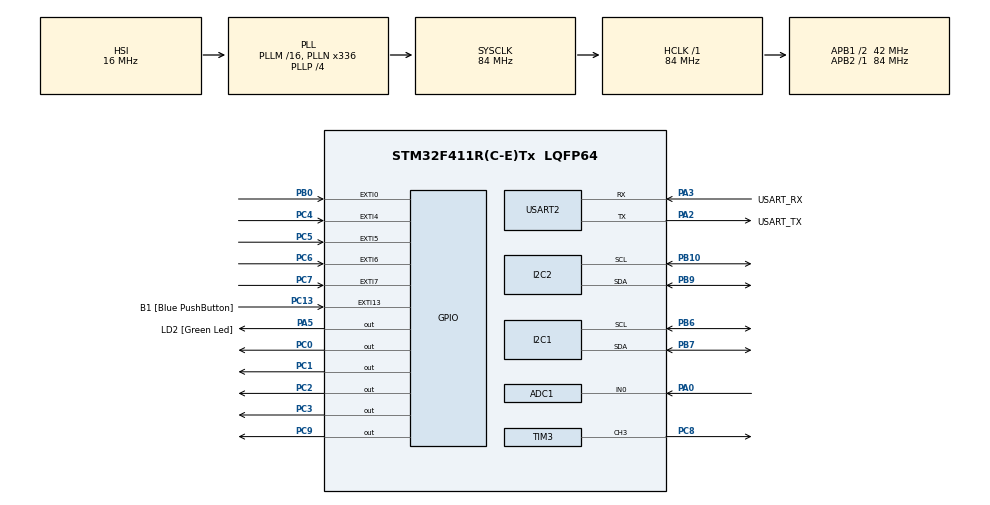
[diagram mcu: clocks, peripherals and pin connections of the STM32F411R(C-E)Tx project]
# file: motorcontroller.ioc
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ADC1.Channel-3\#ChannelRegularConversion=ADC_CHANNEL_0
ADC1.NbrOfConversionFlag=1
ADC1.Rank-3\#ChannelRegularConversion=1
ADC1.SamplingTime-3\#ChannelRegularConversion=ADC_SAMPLETIME_3CYCLES
ADC1.master=1
Mcu.Family=STM32F4
Mcu.Name=STM32F411R(C-E)Tx
Mcu.Package=LQFP64
NVIC.ADC_IRQn=true\:0\:0\:false\:false\:true\:true\:true\:true
NVIC.EXTI0_IRQn=true\:0\:0\:false\:false\:true\:true\:true\:true
NVIC.EXTI4_IRQn=true\:0\:0\:false\:false\:true\:true\:true\:true
NVIC.EXTI9_5_IRQn=true\:0\:0\:false\:false\:true\:true\:true\:true
NVIC.PriorityGroup=NVIC_PRIORITYGROUP_0
NVIC.TIM2_IRQn=true\:0\:0\:false\:false\:true\:true\:true\:true
NVIC.TIM3_IRQn=true\:0\:0\:false\:false\:true\:true\:true\:true
NVIC.TIM4_IRQn=true\:0\:0\:false\:false\:true\:true\:true\:true
PA0-WKUP.Signal=ADCx_IN0
PA13.GPIO_Label=TMS
PA13.Mode=Serial_Wire
PA13.Signal=SYS_JTMS-SWDIO
PA14.GPIO_Label=TCK
PA14.Mode=Serial_Wire
PA14.Signal=SYS_JTCK-SWCLK
PA2.GPIO_Label=USART_TX
PA2.Mode=Asynchronous
PA2.Signal=USART2_TX
PA3.GPIO_Label=USART_RX
PA3.Mode=Asynchronous
PA3.Signal=USART2_RX
PA5.GPIO_Label=LD2 [Green Led]
PA5.Signal=GPIO_Output
PB0.Signal=GPXTI0
PB10.GPIO_Pu=GPIO_PULLUP
PB10.Mode=I2C
PB10.Signal=I2C2_SCL
PB3.GPIO_Label=SWO
PB3.Signal=SYS_JTDO-SWO
PB6.GPIO_Pu=GPIO_PULLUP
PB6.Mode=I2C
PB6.Signal=I2C1_SCL
PB7.GPIO_Pu=GPIO_PULLUP
PB7.Mode=I2C
PB7.Signal=I2C1_SDA
PB9.GPIO_Pu=GPIO_PULLUP
PB9.Mode=I2C
PB9.Signal=I2C2_SDA
PC0.Signal=GPIO_Output
PC1.Signal=GPIO_Output
PC13-ANTI_TAMP.GPIO_Label=B1 [Blue PushButton]
PC13-ANTI_TAMP.GPIO_ModeDefaultEXTI=GPIO_MODE_IT_FALLING
PC13-ANTI_TAMP.Signal=GPXTI13
PC14-OSC32_IN.Mode=LSE-External-Oscillator
PC14-OSC32_IN.Signal=RCC_OSC32_IN
PC15-OSC32_OUT.Mode=LSE-External-Oscillator
PC15-OSC32_OUT.Signal=RCC_OSC32_OUT
PC2.Signal=GPIO_Output
PC3.Signal=GPIO_Output
PC4.GPIO_ModeDefaultEXTI=GPIO_MODE_IT_FALLING
PC4.GPIO_PuPd=GPIO_PULLUP
PC4.Signal=GPXTI4
PC5.GPIO_ModeDefaultEXTI=GPIO_MODE_IT_FALLING
PC5.GPIO_PuPd=GPIO_PULLUP
PC5.Signal=GPXTI5
PC6.GPIO_ModeDefaultEXTI=GPIO_MODE_IT_FALLING
PC6.GPIO_PuPd=GPIO_PULLUP
PC6.Signal=GPXTI6
PC7.GPIO_ModeDefaultEXTI=GPIO_MODE_IT_FALLING
PC7.GPIO_PuPd=GPIO_PULLUP
PC7.Signal=GPXTI7
PC8.Signal=S_TIM3_CH3
PC9.GPIO_PuPd=GPIO_PULLUP
PC9.Signal=GPIO_Output
PH0\ -\ OSC_IN.Mode=HSE-External-Clock-Source
PH0\ -\ OSC_IN.Signal=RCC_OSC_IN
PH1\ -\ OSC_OUT.Mode=HSE-External-Clock-Source
PH1\ -\ OSC_OUT.Signal=RCC_OSC_OUT
ProjectManager.HeapSize=0x200
ProjectManager.StackSize=0x400
ProjectManager.TargetToolchain=CMake
RCC.48MHZClocksFreq_Value=84000000
RCC.AHBFreq_Value=84000000
RCC.APB1CLKDivider=RCC_HCLK_DIV2
RCC.APB1Freq_Value=42000000
RCC.APB1TimFreq_Value=84000000
RCC.APB2Freq_Value=84000000
RCC.APB2TimFreq_Value=84000000
RCC.CortexFreq_Value=84000000
RCC.FLatency-AdvancedSettings=FLASH_LATENCY_2
RCC.HCLKFreq_Value=84000000
RCC.HSE_VALUE=8000000
RCC.HSI_VALUE=16000000
RCC.PLLN=336
RCC.PLLP=RCC_PLLP_DIV4
RCC.SYSCLKFreq_VALUE=84000000
RCC.SYSCLKSource=RCC_SYSCLKSOURCE_PLLCLK
RCC.VCOOutputFreq_Value=336000000
SH.ADCx_IN0.0=ADC1_IN0,IN0
SH.S_TIM3_CH3.0=TIM3_CH3,PWM Generation3 CH3
TIM2.Period=999
TIM2.Prescaler=83
TIM3.Channel-PWM\ Generation3\ CH3=TIM_CHANNEL_3
TIM3.Prescaler=83
TIM4.Period=999
TIM4.Prescaler=83
USART2.VirtualMode=VM_ASYNC
VP_TIM2_VS_ClockSourceINT.Mode=Internal
VP_TIM3_VS_ClockSourceINT.Mode=Internal
VP_TIM4_VS_ClockSourceINT.Mode=Internal
board=NUCLEO-F411RE

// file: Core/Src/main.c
/* USER CODE BEGIN Header */
  /**
    ******************************************************************************
    * @file           : main.c
    * @brief          : Main program body
    ******************************************************************************
    * @attention
    *
    * Copyright (c) 2025 STMicroelectronics.
    * All rights reserved.
    *
    * This software is licensed under terms that can be found in the LICENSE file
    * in the root directory of this software component.
    * If no LICENSE file comes with this software, it is provided AS-IS.
    *
    ******************************************************************************
    */
/* USER CODE END Header */
#include "main.h"

/* USER CODE BEGIN Includes */
#include "fonts.h"
#include "bitmaps.h"
#include "ssd1309.h"
#include "keypad.h"
#include "queue.h"
#include "override.h"
#include "menu.h"
#include "navigation.h"
#include "motor.h"
/* USER CODE END Includes */

ADC_HandleTypeDef hadc1;

I2C_HandleTypeDef hi2c1;
I2C_HandleTypeDef hi2c2;

TIM_HandleTypeDef htim2;
TIM_HandleTypeDef htim3;
TIM_HandleTypeDef htim4;

UART_HandleTypeDef huart2;

/* USER CODE BEGIN PV */
volatile bool powerDownRequested = false;
/* USER CODE END PV */

void SystemClock_Config(void);
static void MX_GPIO_Init(void);
static void MX_USART2_UART_Init(void);
static void MX_I2C1_Init(void);
static void MX_TIM2_Init(void);
static void MX_TIM3_Init(void);
static void MX_I2C2_Init(void);
static void MX_TIM4_Init(void);
static void MX_ADC1_Init(void);

int main(void)
{

  /* MCU Configuration--------------------------------------------------------*/

  /* Reset of all peripherals, Initializes the Flash interface and the Systick. */
  HAL_Init();

  /* Configure the system clock */
  SystemClock_Config();

  /* Initialize all configured peripherals */
  MX_GPIO_Init();
  MX_USART2_UART_Init();
  MX_I2C1_Init();
  MX_TIM2_Init();
  MX_TIM3_Init();
  MX_I2C2_Init();
  MX_TIM4_Init();
  MX_ADC1_Init();
  /* USER CODE BEGIN 2 */

  navigationInit();

  /* USER CODE END 2 */

  /* Infinite loop */
    while(1)
    {

      /* USER CODE BEGIN 3 */
      navigationLoop();
    }
  /* USER CODE END 3 */
}

void SystemClock_Config(void)
{
  RCC_OscInitTypeDef RCC_OscInitStruct = {0};
  RCC_ClkInitTypeDef RCC_ClkInitStruct = {0};

  /** Configure the main internal regulator output voltage
  */
  __HAL_RCC_PWR_CLK_ENABLE();
  __HAL_PWR_VOLTAGESCALING_CONFIG(PWR_REGULATOR_VOLTAGE_SCALE1);

  /** Initializes the RCC Oscillators according to the specified parameters
  * in the RCC_OscInitTypeDef structure.
  */
  RCC_OscInitStruct.OscillatorType = RCC_OSCILLATORTYPE_HSI;
  RCC_OscInitStruct.HSIState = RCC_HSI_ON;
  RCC_OscInitStruct.HSICalibrationValue = RCC_HSICALIBRATION_DEFAULT;
  RCC_OscInitStruct.PLL.PLLState = RCC_PLL_ON;
  RCC_OscInitStruct.PLL.PLLSource = RCC_PLLSOURCE_HSI;
  RCC_OscInitStruct.PLL.PLLM = 16;
  RCC_OscInitStruct.PLL.PLLN = 336;
  RCC_OscInitStruct.PLL.PLLP = RCC_PLLP_DIV4;
  RCC_OscInitStruct.PLL.PLLQ = 4;
  if (HAL_RCC_OscConfig(&RCC_OscInitStruct) != HAL_OK)
  {
    Error_Handler();
  }

  /** Initializes the CPU, AHB and APB buses clocks
  */
  RCC_ClkInitStruct.ClockType = RCC_CLOCKTYPE_HCLK|RCC_CLOCKTYPE_SYSCLK
                              |RCC_CLOCKTYPE_PCLK1|RCC_CLOCKTYPE_PCLK2;
  RCC_ClkInitStruct.SYSCLKSource = RCC_SYSCLKSOURCE_PLLCLK;
  RCC_ClkInitStruct.AHBCLKDivider = RCC_SYSCLK_DIV1;
  RCC_ClkInitStruct.APB1CLKDivider = RCC_HCLK_DIV2;
  RCC_ClkInitStruct.APB2CLKDivider = RCC_HCLK_DIV1;

  if (HAL_RCC_ClockConfig(&RCC_ClkInitStruct, FLASH_LATENCY_2) != HAL_OK)
  {
    Error_Handler();
  }
}

static void MX_ADC1_Init(void)
{

  ADC_ChannelConfTypeDef sConfig = {0};

  /** Configure the global features of the ADC (Clock, Resolution, Data Alignment and number of conversion)
  */
  hadc1.Instance = ADC1;
  hadc1.Init.ClockPrescaler = ADC_CLOCK_SYNC_PCLK_DIV4;
  hadc1.Init.Resolution = ADC_RESOLUTION_12B;
  hadc1.Init.ScanConvMode = DISABLE;
  hadc1.Init.ContinuousConvMode = DISABLE;
  hadc1.Init.DiscontinuousConvMode = DISABLE;
  hadc1.Init.ExternalTrigConvEdge = ADC_EXTERNALTRIGCONVEDGE_NONE;
  hadc1.Init.ExternalTrigConv = ADC_SOFTWARE_START;
  hadc1.Init.DataAlign = ADC_DATAALIGN_RIGHT;
  hadc1.Init.NbrOfConversion = 1;
  hadc1.Init.DMAContinuousRequests = DISABLE;
  hadc1.Init.EOCSelection = ADC_EOC_SINGLE_CONV;
  if (HAL_ADC_Init(&hadc1) != HAL_OK)
  {
    Error_Handler();
  }

  /** Configure for the selected ADC regular channel its corresponding rank in the sequencer and its sample time.
  */
  sConfig.Channel = ADC_CHANNEL_0;
  sConfig.Rank = 1;
  sConfig.SamplingTime = ADC_SAMPLETIME_3CYCLES;
  if (HAL_ADC_ConfigChannel(&hadc1, &sConfig) != HAL_OK)
  {
    Error_Handler();
  }

}

static void MX_I2C1_Init(void)
{

  hi2c1.Instance = I2C1;
  hi2c1.Init.ClockSpeed = 100000;
  hi2c1.Init.DutyCycle = I2C_DUTYCYCLE_2;
  hi2c1.Init.OwnAddress1 = 0;
  hi2c1.Init.AddressingMode = I2C_ADDRESSINGMODE_7BIT;
  hi2c1.Init.DualAddressMode = I2C_DUALADDRESS_DISABLE;
  hi2c1.Init.OwnAddress2 = 0;
  hi2c1.Init.GeneralCallMode = I2C_GENERALCALL_DISABLE;
  hi2c1.Init.NoStretchMode = I2C_NOSTRETCH_DISABLE;
  if (HAL_I2C_Init(&hi2c1) != HAL_OK)
  {
    Error_Handler();
  }

}

static void MX_I2C2_Init(void)
{

  hi2c2.Instance = I2C2;
  hi2c2.Init.ClockSpeed = 100000;
  hi2c2.Init.DutyCycle = I2C_DUTYCYCLE_2;
  hi2c2.Init.OwnAddress1 = 0;
  hi2c2.Init.AddressingMode = I2C_ADDRESSINGMODE_7BIT;
  hi2c2.Init.DualAddressMode = I2C_DUALADDRESS_DISABLE;
  hi2c2.Init.OwnAddress2 = 0;
  hi2c2.Init.GeneralCallMode = I2C_GENERALCALL_DISABLE;
  hi2c2.Init.NoStretchMode = I2C_NOSTRETCH_DISABLE;
  if (HAL_I2C_Init(&hi2c2) != HAL_OK)
  {
    Error_Handler();
  }

}

static void MX_TIM2_Init(void)
{

  TIM_ClockConfigTypeDef sClockSourceConfig = {0};
  TIM_MasterConfigTypeDef sMasterConfig = {0};

  htim2.Instance = TIM2;
  htim2.Init.Prescaler = 83;
  htim2.Init.CounterMode = TIM_COUNTERMODE_UP;
  htim2.Init.Period = 999;
  htim2.Init.ClockDivision = TIM_CLOCKDIVISION_DIV1;
  htim2.Init.AutoReloadPreload = TIM_AUTORELOAD_PRELOAD_DISABLE;
  if (HAL_TIM_Base_Init(&htim2) != HAL_OK)
  {
    Error_Handler();
  }
  sClockSourceConfig.ClockSource = TIM_CLOCKSOURCE_INTERNAL;
  if (HAL_TIM_ConfigClockSource(&htim2, &sClockSourceConfig) != HAL_OK)
  {
    Error_Handler();
  }
  sMasterConfig.MasterOutputTrigger = TIM_TRGO_RESET;
  sMasterConfig.MasterSlaveMode = TIM_MASTERSLAVEMODE_DISABLE;
  if (HAL_TIMEx_MasterConfigSynchronization(&htim2, &sMasterConfig) != HAL_OK)
  {
    Error_Handler();
  }
  /* USER CODE BEGIN TIM2_Init 2 */
  __HAL_TIM_ENABLE_IT(&htim2, TIM_IT_UPDATE);
  /* USER CODE END TIM2_Init 2 */

}

static void MX_TIM3_Init(void)
{

  TIM_ClockConfigTypeDef sClockSourceConfig = {0};
  TIM_MasterConfigTypeDef sMasterConfig = {0};
  TIM_OC_InitTypeDef sConfigOC = {0};

  htim3.Instance = TIM3;
  htim3.Init.Prescaler = 83;
  htim3.Init.CounterMode = TIM_COUNTERMODE_UP;
  htim3.Init.Period = 65535;
  htim3.Init.ClockDivision = TIM_CLOCKDIVISION_DIV1;
  htim3.Init.AutoReloadPreload = TIM_AUTORELOAD_PRELOAD_DISABLE;
  if (HAL_TIM_Base_Init(&htim3) != HAL_OK)
  {
    Error_Handler();
  }
  sClockSourceConfig.ClockSource = TIM_CLOCKSOURCE_INTERNAL;
  if (HAL_TIM_ConfigClockSource(&htim3, &sClockSourceConfig) != HAL_OK)
  {
    Error_Handler();
  }
  if (HAL_TIM_PWM_Init(&htim3) != HAL_OK)
  {
    Error_Handler();
  }
  sMasterConfig.MasterOutputTrigger = TIM_TRGO_RESET;
  sMasterConfig.MasterSlaveMode = TIM_MASTERSLAVEMODE_DISABLE;
  if (HAL_TIMEx_MasterConfigSynchronization(&htim3, &sMasterConfig) != HAL_OK)
  {
    Error_Handler();
  }
  sConfigOC.OCMode = TIM_OCMODE_PWM1;
  sConfigOC.Pulse = 0;
  sConfigOC.OCPolarity = TIM_OCPOLARITY_HIGH;
  sConfigOC.OCFastMode = TIM_OCFAST_DISABLE;
  if (HAL_TIM_PWM_ConfigChannel(&htim3, &sConfigOC, TIM_CHANNEL_3) != HAL_OK)
  {
    Error_Handler();
  }
  /* USER CODE BEGIN TIM3_Init 2 */
  __HAL_TIM_ENABLE_IT(&htim3, TIM_IT_CC3);
  /* USER CODE END TIM3_Init 2 */
  HAL_TIM_MspPostInit(&htim3);

}

static void MX_TIM4_Init(void)
{

  TIM_ClockConfigTypeDef sClockSourceConfig = {0};
  TIM_MasterConfigTypeDef sMasterConfig = {0};

  htim4.Instance = TIM4;
  htim4.Init.Prescaler = 83;
  htim4.Init.CounterMode = TIM_COUNTERMODE_UP;
  htim4.Init.Period = 999;
  htim4.Init.ClockDivision = TIM_CLOCKDIVISION_DIV1;
  htim4.Init.AutoReloadPreload = TIM_AUTORELOAD_PRELOAD_DISABLE;
  if (HAL_TIM_Base_Init(&htim4) != HAL_OK)
  {
    Error_Handler();
  }
  sClockSourceConfig.ClockSource = TIM_CLOCKSOURCE_INTERNAL;
  if (HAL_TIM_ConfigClockSource(&htim4, &sClockSourceConfig) != HAL_OK)
  {
    Error_Handler();
  }
  sMasterConfig.MasterOutputTrigger = TIM_TRGO_RESET;
  sMasterConfig.MasterSlaveMode = TIM_MASTERSLAVEMODE_DISABLE;
  if (HAL_TIMEx_MasterConfigSynchronization(&htim4, &sMasterConfig) != HAL_OK)
  {
    Error_Handler();
  }
  /* USER CODE BEGIN TIM4_Init 2 */
  __HAL_TIM_ENABLE_IT(&htim4, TIM_IT_UPDATE);
  /* USER CODE END TIM4_Init 2 */

}

static void MX_USART2_UART_Init(void)
{

  huart2.Instance = USART2;
  huart2.Init.BaudRate = 115200;
  huart2.Init.WordLength = UART_WORDLENGTH_8B;
  huart2.Init.StopBits = UART_STOPBITS_1;
  huart2.Init.Parity = UART_PARITY_NONE;
  huart2.Init.Mode = UART_MODE_TX_RX;
  huart2.Init.HwFlowCtl = UART_HWCONTROL_NONE;
  huart2.Init.OverSampling = UART_OVERSAMPLING_16;
  if (HAL_UART_Init(&huart2) != HAL_OK)
  {
    Error_Handler();
  }

}

static void MX_GPIO_Init(void)
{
  GPIO_InitTypeDef GPIO_InitStruct = {0};

  /* GPIO Ports Clock Enable */
  __HAL_RCC_GPIOC_CLK_ENABLE();
  __HAL_RCC_GPIOH_CLK_ENABLE();
  __HAL_RCC_GPIOA_CLK_ENABLE();
  __HAL_RCC_GPIOB_CLK_ENABLE();

  /*Configure GPIO pin Output Level */
  HAL_GPIO_WritePin(GPIOC, GPIO_PIN_0|GPIO_PIN_1|GPIO_PIN_2|GPIO_PIN_3
                          |GPIO_PIN_9, GPIO_PIN_RESET);

  /*Configure GPIO pin Output Level */
  HAL_GPIO_WritePin(LD2_GPIO_Port, LD2_Pin, GPIO_PIN_RESET);

  /*Configure GPIO pin : B1_Pin */
  GPIO_InitStruct.Pin = B1_Pin;
  GPIO_InitStruct.Mode = GPIO_MODE_IT_FALLING;
  GPIO_InitStruct.Pull = GPIO_NOPULL;
  HAL_GPIO_Init(B1_GPIO_Port, &GPIO_InitStruct);

  /*Configure GPIO pins : PC0 PC1 PC2 PC3 */
  GPIO_InitStruct.Pin = GPIO_PIN_0|GPIO_PIN_1|GPIO_PIN_2|GPIO_PIN_3;
  GPIO_InitStruct.Mode = GPIO_MODE_OUTPUT_PP;
  GPIO_InitStruct.Pull = GPIO_NOPULL;
  GPIO_InitStruct.Speed = GPIO_SPEED_FREQ_LOW;
  HAL_GPIO_Init(GPIOC, &GPIO_InitStruct);

  /*Configure GPIO pin : LD2_Pin */
  GPIO_InitStruct.Pin = LD2_Pin;
  GPIO_InitStruct.Mode = GPIO_MODE_OUTPUT_PP;
  GPIO_InitStruct.Pull = GPIO_NOPULL;
  GPIO_InitStruct.Speed = GPIO_SPEED_FREQ_LOW;
  HAL_GPIO_Init(LD2_GPIO_Port, &GPIO_InitStruct);

  /*Configure GPIO pins : PC4 PC5 PC6 PC7 */
  GPIO_InitStruct.Pin = GPIO_PIN_4|GPIO_PIN_5|GPIO_PIN_6|GPIO_PIN_7;
  GPIO_InitStruct.Mode = GPIO_MODE_IT_FALLING;
  GPIO_InitStruct.Pull = GPIO_PULLUP;
  HAL_GPIO_Init(GPIOC, &GPIO_InitStruct);

  /*Configure GPIO pin : PB0 */
  GPIO_InitStruct.Pin = GPIO_PIN_0;
  GPIO_InitStruct.Mode = GPIO_MODE_IT_RISING;
  GPIO_InitStruct.Pull = GPIO_NOPULL;
  HAL_GPIO_Init(GPIOB, &GPIO_InitStruct);

  /*Configure GPIO pin : PC9 */
  GPIO_InitStruct.Pin = GPIO_PIN_9;
  GPIO_InitStruct.Mode = GPIO_MODE_OUTPUT_PP;
  GPIO_InitStruct.Pull = GPIO_PULLUP;
  GPIO_InitStruct.Speed = GPIO_SPEED_FREQ_LOW;
  HAL_GPIO_Init(GPIOC, &GPIO_InitStruct);

  /* EXTI interrupt init*/
  HAL_NVIC_SetPriority(EXTI0_IRQn, 1, 0);
  HAL_NVIC_EnableIRQ(EXTI0_IRQn);

  HAL_NVIC_SetPriority(EXTI4_IRQn, 0, 0);
  HAL_NVIC_EnableIRQ(EXTI4_IRQn);

  HAL_NVIC_SetPriority(EXTI9_5_IRQn, 0, 0);
  HAL_NVIC_EnableIRQ(EXTI9_5_IRQn);

}

void Error_Handler(void)
{
    __disable_irq();
    while (1)
    {
    }
}
